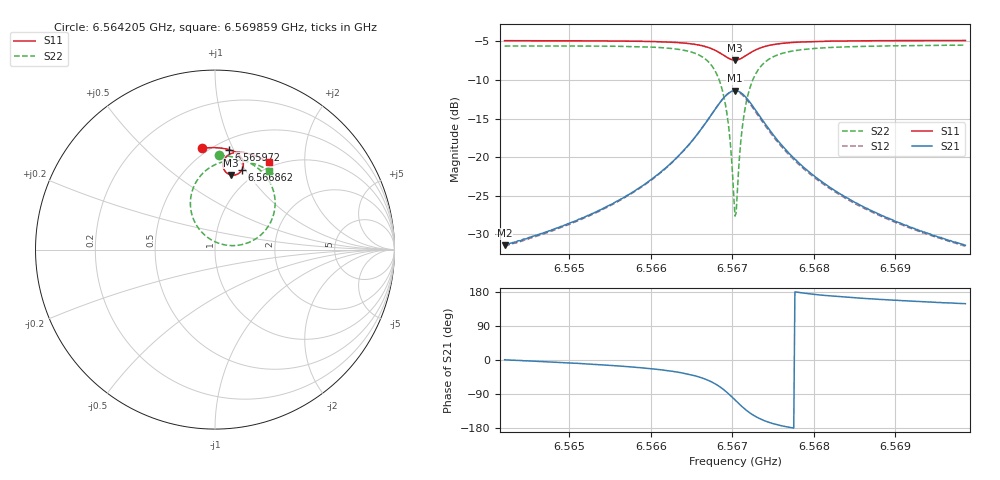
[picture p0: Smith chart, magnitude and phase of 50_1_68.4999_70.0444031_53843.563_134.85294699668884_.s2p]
#  HZ  S  RI  R  50.00
! Rohde & Schwarz Vector Network Analyzer
! Rohde-Schwarz,ZNB20-2Port,1311601062101988,3.16
! Created: UTC 3/20/2024, 5:05:56 PM
! freq[Hz]  re:S11  im:S11  re:S21  im:S21  re:S12  im:S12  re:S22  im:S22
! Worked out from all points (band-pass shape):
!   401 points, 6.564205 GHz to 6.569859 GHz, reference 50 ohm
!   highest |S21| = -11.37 dB at 6.567032 GHz (marker M1); lowest = -31.4 dB at 6.564205 GHz (marker M2)
!   |S21| within 3 dB of the highest: 6.566751 GHz to 6.567315 GHz (564.2 kHz wide, 0.00859 % of centre)
!   lowest |S11| = -7.4 dB at 6.567032 GHz (marker M3), VSWR 2.48, Z = 40.8 + j41.5 ohm
!   |S11| at or under -10 dB: nowhere
!   |S22| runs from -27.6 to -5.5 dB; largest |S21 - S12| = 0.012
!   S11 on the Smith chart (normalised r, x): 6.564205 GHz: 0.46, +0.77; 6.565972 GHz: 0.59, +0.96; 6.566862 GHz: 0.85, +0.97; 6.569859 GHz: 0.93, +1.34
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6.564205e9  -0.0745 0.5641  0.0268 0.000321  0.0265 -0.000345  0.0246 0.5245
6.565152e9  0.00245 0.5679  0.0397 -0.00681  0.0389 -0.00729  0.1124 0.513
6.5659719e9  0.0771 0.5572  0.0643 -0.0264  0.0633 -0.0272  0.2135 0.4717
6.5660991e9  0.0902 0.553  0.0708 -0.0335  0.0697 -0.0343  0.2342 0.4575
6.56641e9  0.1254 0.5344  0.0912 -0.0644  0.0897 -0.0656  0.2925 0.3962
6.566622e9  0.1495 0.5071  0.1044 -0.112  0.1022 -0.114  0.3309 0.3045
6.5667634e9  0.1582 0.4742  0.098 -0.169  0.0939 -0.1721  0.3264 0.1954
6.5668623e9  0.1502 0.4439  0.067 -0.2214  0.0598 -0.224  0.2718 0.0976
6.5669047e9  0.1404 0.4311  0.0419 -0.2423  0.0331 -0.2441  0.2259 0.0594
6.5669471e9  0.1263 0.4208  0.00882 -0.2582  -0.00141 -0.2582  0.166 0.0318
6.5669754e9  0.1147 0.4165  -0.0168 -0.264  -0.0276 -0.2624  0.1196 0.023
6.5670178e9  0.0955 0.4149  -0.0578 -0.2633  -0.0688 -0.2589  0.0469 0.0279
6.567032e9  0.089 0.4159  -0.0716 -0.2603  -0.0823 -0.255  0.0229 0.0346
6.5670602e9  0.0767 0.4201  -0.0976 -0.2505  -0.1074 -0.2431  -0.0216 0.055
6.5671026e9  0.0611 0.4309  -0.1309 -0.2271  -0.1386 -0.2178  -0.0764 0.0999
6.567145e9  0.0504 0.4454  -0.1545 -0.1977  -0.1598 -0.1872  -0.1134 0.1546
6.5672016e9  0.0442 0.4664  -0.1713 -0.1563  -0.1734 -0.1459  -0.1355 0.229
6.5672722e9  0.0464 0.4898  -0.1741 -0.1103  -0.1734 -0.1014  -0.1316 0.3089
6.5675267e9  0.0847 0.5329  -0.1319 -0.0243  -0.1291 -0.0206  -0.0355 0.4524
6.567979e9  0.1456 0.5422  -0.0769 0.00831  -0.0751 0.00941  0.092 0.497
6.568926e9  0.2319 0.52  -0.0372 0.0147  -0.0363 0.0149  0.2213 0.4775
6.5698589e9  0.2997 0.4858  -0.0229 0.0139  -0.0224 0.0141  0.3006 0.4395
